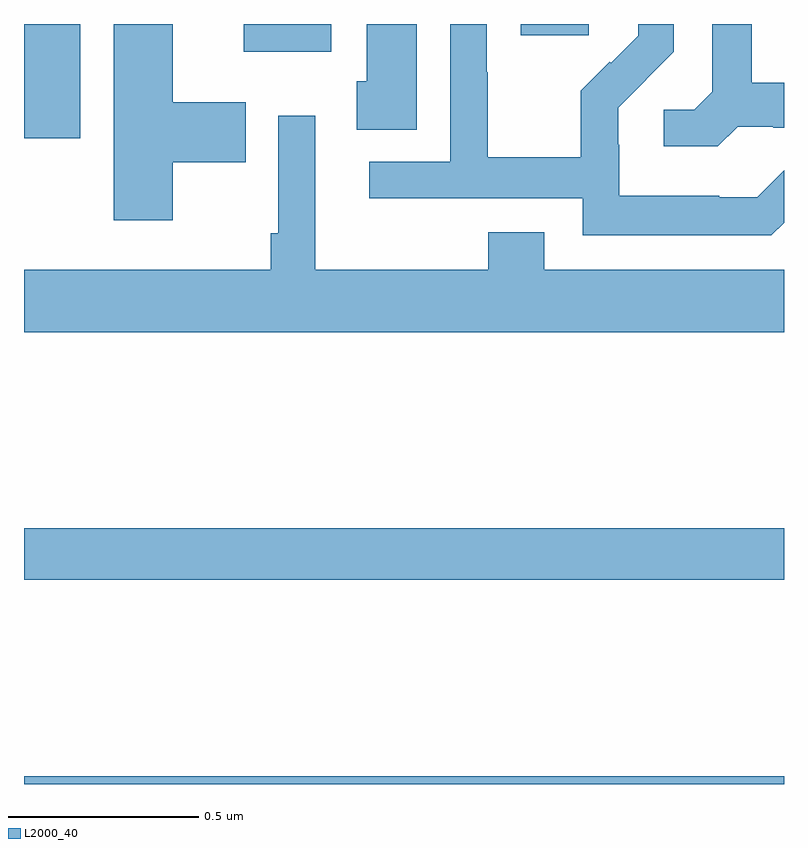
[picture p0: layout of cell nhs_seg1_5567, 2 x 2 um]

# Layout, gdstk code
import gdstk
lib = gdstk.Library(unit=1e-6, precision=1e-09)
def R(c, l, rs):  # rectangles x0, y0, x1, y1
    for r in rs: c.add(gdstk.rectangle(r[:2], r[2:], *l))
def P(c, l, *ps):  # polygons
    for p in ps: c.add(gdstk.Polygon(p, *l))
L2000_40 = (2000, 40)

nhs_seg1_5567 = lib.new_cell('nhs_seg1_5567')
R(nhs_seg1_5567, L2000_40, [(180,561.199,182,561.22), (180,561.736,182,561.872), (180,562.899,180.148,563.199), (180.578,563.126,180.808,563.199), (181.307,563.169,181.486,563.199)])
P(nhs_seg1_5567, L2000_40, [(180.391,562.835),(180.584,562.835),(180.584,562.993),(180.391,562.993),(180.391,563.199),(180.236,563.199),(180.236,562.683),(180.391,562.683)],
  [(182,562.676),(182,562.814),(181.929,562.743),(181.829,562.743),(181.829,562.747),(181.566,562.747),(181.566,562.881),(181.564,562.881),(181.564,562.978),(181.638,563.052),(181.637,563.053),(181.71,563.126),(181.71,563.199),(181.616,563.199),(181.616,563.168),(181.545,563.097),(181.542,563.1),(181.465,563.023),(181.465,562.849),(181.221,562.849),(181.221,563.072),(181.218,563.072),(181.218,563.199),(181.122,563.199),(181.122,562.836),(180.909,562.836),(180.909,562.74),(181.47,562.74),(181.47,562.643),(181.967,562.643)],
  [(181.878,562.929),(181.972,562.929),(181.972,562.926),(182,562.926),(182,563.045),(181.915,563.045),(181.915,563.199),(181.811,563.199),(181.811,563.021),(181.764,562.974),(181.683,562.974),(181.683,562.877),(181.826,562.877)],
  [(181.033,563.199),(180.902,563.199),(180.902,563.049),(180.875,563.049),(180.875,562.921),(181.033,562.921)],
  [(182,562.552),(181.369,562.552),(181.369,562.651),(181.222,562.651),(181.222,562.552),(180.766,562.552),(180.766,562.957),(180.669,562.957),(180.669,562.648),(180.649,562.648),(180.649,562.552),(180,562.552),(180,562.388),(182,562.388)])

lib.write_gds('nhs_seg1_5567.gds')
